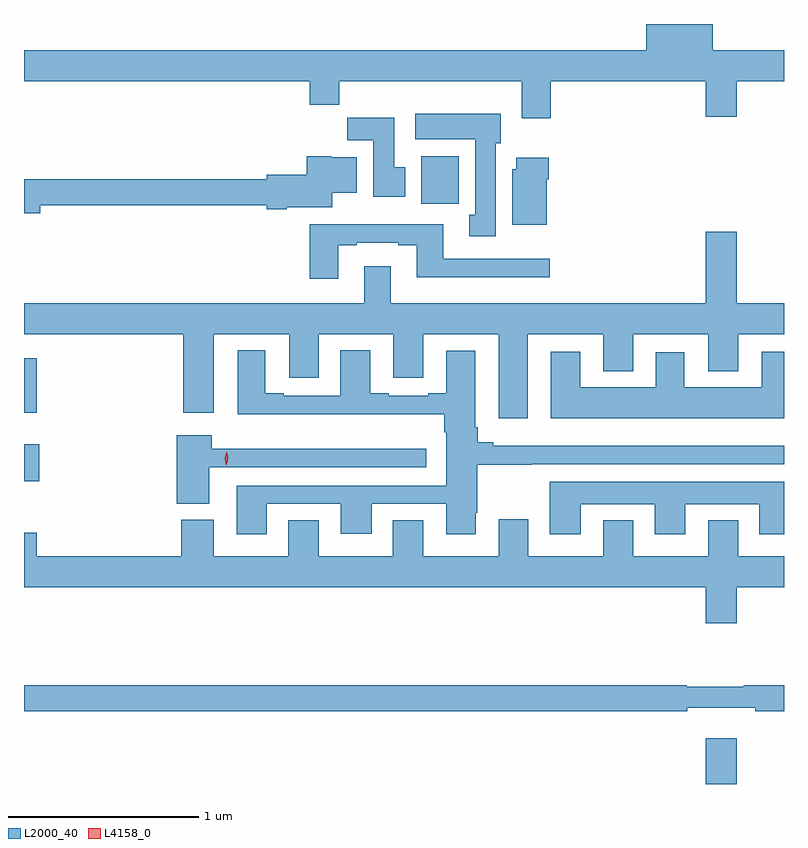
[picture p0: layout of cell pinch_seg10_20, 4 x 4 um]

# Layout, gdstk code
import gdstk
lib = gdstk.Library(unit=1e-6, precision=1e-09)
def R(c, l, rs):  # rectangles x0, y0, x1, y1
    for r in rs: c.add(gdstk.rectangle(r[:2], r[2:], *l))
def P(c, l, *ps):  # polygons
    for p in ps: c.add(gdstk.Polygon(p, *l))
L2000_40 = (2000, 40)
L4158_0 = (4158, 0)

pinch_seg10_20 = lib.new_cell('pinch_seg10_20')
R(pinch_seg10_20, L2000_40, [(956.216,1271.309,956.38,1271.551), (952.628,1272.902,952.709,1273.096), (952.628,1273.262,952.694,1273.549), (954.719,1274.364,954.915,1274.614)])
P(pinch_seg10_20, L2000_40, [(955.4,1275.008),(956.216,1275.008),(956.216,1274.82),(956.38,1274.82),(956.38,1275.008),(956.628,1275.008),(956.628,1275.172),(956.254,1275.172),(956.254,1275.309),(955.904,1275.309),(955.904,1275.172),(952.628,1275.172),(952.628,1275.008),(954.131,1275.008),(954.131,1274.884),(954.287,1274.884),(954.287,1275.008),(955.247,1275.008),(955.247,1274.814),(955.4,1274.814)],
  [(955.111,1274.682),(955.138,1274.682),(955.138,1274.836),(954.687,1274.836),(954.687,1274.702),(955.004,1274.702),(955.004,1274.305),(954.971,1274.305),(954.971,1274.193),(955.111,1274.193)],
  [(954.634,1274.556),(954.577,1274.556),(954.577,1274.815),(954.328,1274.815),(954.328,1274.696),(954.467,1274.696),(954.467,1274.4),(954.634,1274.4)],
  [(952.714,1274.356),(953.906,1274.356),(953.906,1274.333),(954.01,1274.333),(954.01,1274.345),(954.25,1274.345),(954.25,1274.42),(954.379,1274.42),(954.379,1274.608),(954.246,1274.608),(954.246,1274.614),(954.116,1274.614),(954.116,1274.516),(953.906,1274.516),(953.906,1274.492),(952.628,1274.492),(952.628,1274.314),(952.714,1274.314)],
  [(955.378,1274.492),(955.391,1274.492),(955.391,1274.605),(955.22,1274.605),(955.22,1274.544),(955.199,1274.544),(955.199,1274.252),(955.378,1274.252)],
  [(954.283,1274.145),(954.379,1274.145),(954.379,1274.157),(954.599,1274.157),(954.599,1274.145),(954.695,1274.145),(954.695,1273.976),(955.396,1273.976),(955.396,1274.073),(954.835,1274.073),(954.835,1274.254),(954.131,1274.254),(954.131,1273.968),(954.283,1273.968)],
  [(955.279,1273.676),(955.676,1273.676),(955.676,1273.482),(955.834,1273.482),(955.834,1273.676),(956.228,1273.676),(956.228,1273.482),(956.386,1273.482),(956.386,1273.676),(956.628,1273.676),(956.628,1273.84),(956.38,1273.84),(956.38,1274.215),(956.216,1274.215),(956.216,1273.84),(954.559,1273.84),(954.559,1274.035),(954.419,1274.035),(954.419,1273.84),(952.628,1273.84),(952.628,1273.676),(953.465,1273.676),(953.465,1273.263),(953.626,1273.263),(953.626,1273.676),(954.023,1273.676),(954.023,1273.446),(954.178,1273.446),(954.178,1273.676),(954.572,1273.676),(954.572,1273.446),(954.73,1273.446),(954.73,1273.676),(955.127,1273.676),(955.127,1273.233),(955.279,1273.233)],
  [(953.905,1272.783),(954.296,1272.783),(954.296,1272.627),(954.457,1272.627),(954.457,1272.783),(954.851,1272.783),(954.851,1272.624),(955.006,1272.624),(955.006,1272.736),(955.014,1272.736),(955.014,1272.988),(955.298,1272.988),(955.298,1272.993),(956.628,1272.993),(956.628,1273.09),(955.099,1273.09),(955.099,1273.109),(955.016,1273.109),(955.016,1273.186),(955.003,1273.186),(955.003,1273.588),(954.851,1273.588),(954.851,1273.366),(954.755,1273.366),(954.755,1273.353),(954.547,1273.353),(954.547,1273.366),(954.451,1273.366),(954.451,1273.591),(954.293,1273.591),(954.293,1273.353),(953.995,1273.353),(953.995,1273.366),(953.899,1273.366),(953.899,1273.591),(953.753,1273.591),(953.753,1273.256),(954.839,1273.256),(954.839,1273.16),(954.851,1273.16),(954.851,1272.879),(953.747,1272.879),(953.747,1272.624),(953.905,1272.624)],
  [(956.628,1273.585),(956.51,1273.585),(956.51,1273.396),(956.104,1273.396),(956.104,1273.582),(955.952,1273.582),(955.952,1273.396),(955.555,1273.396),(955.555,1273.585),(955.4,1273.585),(955.4,1273.235),(956.628,1273.235)],
  [(953.602,1272.975),(954.745,1272.975),(954.745,1273.073),(953.615,1273.073),(953.615,1273.144),(953.432,1273.144),(953.432,1272.785),(953.602,1272.785)],
  [(955.558,1272.782),(955.949,1272.782),(955.949,1272.624),(956.107,1272.624),(956.107,1272.782),(956.498,1272.782),(956.498,1272.624),(956.628,1272.624),(956.628,1272.901),(955.394,1272.901),(955.394,1272.624),(955.558,1272.624)],
  [(956.38,1272.344),(956.628,1272.344),(956.628,1272.508),(956.386,1272.508),(956.386,1272.697),(956.228,1272.697),(956.228,1272.508),(955.834,1272.508),(955.834,1272.697),(955.676,1272.697),(955.676,1272.508),(955.282,1272.508),(955.282,1272.703),(955.127,1272.703),(955.127,1272.508),(954.73,1272.508),(954.73,1272.698),(954.569,1272.698),(954.569,1272.508),(954.178,1272.508),(954.178,1272.698),(954.02,1272.698),(954.02,1272.508),(953.626,1272.508),(953.626,1272.7),(953.456,1272.7),(953.456,1272.508),(952.694,1272.508),(952.694,1272.632),(952.628,1272.632),(952.628,1272.344),(956.216,1272.344),(956.216,1272.156),(956.38,1272.156)],
  [(956.12,1271.711),(956.476,1271.711),(956.476,1271.692),(956.628,1271.692),(956.628,1271.828),(956.416,1271.828),(956.416,1271.821),(956.116,1271.821),(956.116,1271.828),(952.628,1271.828),(952.628,1271.692),(956.12,1271.692)])
P(pinch_seg10_20, L4158_0, [(953.692,1272.987),(953.692,1272.987),(953.684,1273.023),(953.695,1273.059),(953.695,1273.059),(953.695,1273.059),(953.704,1273.023),(953.692,1272.987)])

lib.write_gds('pinch_seg10_20.gds')
